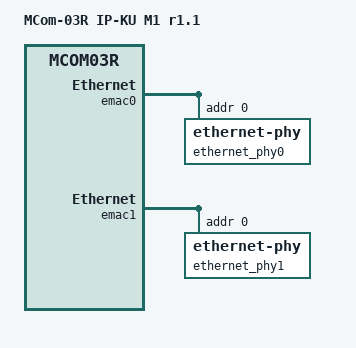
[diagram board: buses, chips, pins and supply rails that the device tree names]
// SPDX-License-Identifier: GPL-2.0+
// Copyright 2026 RnD Center "ELVEES", JSC

/dts-v1/;

#include "mcom03r-ip-ku-m1-r1.0.dts"

/ {
	model = "MCom-03R IP-KU M1 r1.1";
	compatible = "elvees,ip-ku-m1-r1.1",
		     "elvees,ip-ku-m1",
		     "elvees,mcom03r";
};

&emac0 {
	/delete-node/ ethernet-phy@0;
	ethernet_phy0: ethernet-phy@0 {
		reg = <0x0>;
		tx-internal-delay-ps = <2000>;
		max-speed = <100>;
	};
};

&emac1 {
	/delete-node/ ethernet-phy@0;
	ethernet_phy1: ethernet-phy@0 {
		reg = <0x0>;
		tx-internal-delay-ps = <2000>;
		max-speed = <100>;
	};
};

